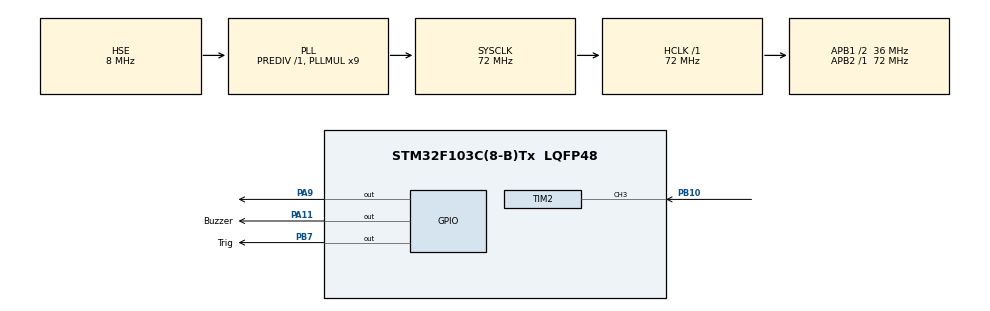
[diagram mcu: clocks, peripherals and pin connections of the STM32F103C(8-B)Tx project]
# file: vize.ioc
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Mcu.Family=STM32F1
Mcu.Name=STM32F103C(8-B)Tx
Mcu.Package=LQFP48
NVIC.PriorityGroup=NVIC_PRIORITYGROUP_4
NVIC.TIM2_IRQn=true\:0\:0\:false\:false\:true\:true\:true\:true
PA11.GPIO_Label=Buzzer
PA11.Signal=GPIO_Output
PA13.Mode=Serial_Wire
PA13.Signal=SYS_JTMS-SWDIO
PA14.Mode=Serial_Wire
PA14.Signal=SYS_JTCK-SWCLK
PA9.Signal=GPIO_Output
PB10.Signal=S_TIM2_CH3
PB7.GPIO_Label=Trig
PB7.Signal=GPIO_Output
PC14-OSC32_IN.Mode=LSE-External-Oscillator
PC14-OSC32_IN.Signal=RCC_OSC32_IN
PC15-OSC32_OUT.Mode=LSE-External-Oscillator
PC15-OSC32_OUT.Signal=RCC_OSC32_OUT
PD0-OSC_IN.Mode=HSE-External-Oscillator
PD0-OSC_IN.Signal=RCC_OSC_IN
PD1-OSC_OUT.Mode=HSE-External-Oscillator
PD1-OSC_OUT.Signal=RCC_OSC_OUT
ProjectManager.HeapSize=0x200
ProjectManager.StackSize=0x400
ProjectManager.TargetToolchain=STM32CubeIDE
RCC.AHBFreq_Value=72000000
RCC.APB1CLKDivider=RCC_HCLK_DIV2
RCC.APB1Freq_Value=36000000
RCC.APB1TimFreq_Value=72000000
RCC.APB2Freq_Value=72000000
RCC.APB2TimFreq_Value=72000000
RCC.HCLKFreq_Value=72000000
RCC.PLLMUL=RCC_PLL_MUL9
RCC.PLLSourceVirtual=RCC_PLLSOURCE_HSE
RCC.SYSCLKFreq_VALUE=72000000
RCC.SYSCLKSource=RCC_SYSCLKSOURCE_PLLCLK
RCC.USBFreq_Value=72000000
SH.S_TIM2_CH3.0=TIM2_CH3,Input_Capture3_from_TI3
TIM2.Channel-Input_Capture3_from_TI3=TIM_CHANNEL_3
TIM2.Period=65535-1
TIM2.Prescaler=72-1
VP_TIM2_VS_ClockSourceINT.Mode=Internal
board=custom

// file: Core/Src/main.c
/* USER CODE BEGIN Header */
/**
  ******************************************************************************
  * @file           : main.c
  * @brief          : Main program body
  ******************************************************************************
  * @attention
  *
  * Copyright (c) 2023 STMicroelectronics.
  * All rights reserved.
  *
  * This software is licensed under terms that can be found in the LICENSE file
  * in the root directory of this software component.
  * If no LICENSE file comes with this software, it is provided AS-IS.
  *
  ******************************************************************************
  */
/* USER CODE END Header */
#include "main.h"

TIM_HandleTypeDef htim2;

void SystemClock_Config(void);
static void MX_GPIO_Init(void);
static void MX_TIM2_Init(void);

/* USER CODE BEGIN 0 */
uint32_t IC_Val1 = 0;
uint32_t IC_Val2 = 0;
uint32_t Difference = 0;
uint8_t Is_First_Captured = 0;
uint8_t Distance = 0;
char mesafe[14];

void delayuS(uint16_t time)
{
    __HAL_TIM_SET_COUNTER(&htim2, 0);
    while (__HAL_TIM_GET_COUNTER(&htim2) < time);
}

void HAL_TIM_IC_CaptureCallback(TIM_HandleTypeDef *htim) {
    if (htim->Channel == HAL_TIM_ACTIVE_CHANNEL_3) {
        if (Is_First_Captured == 0) {
            IC_Val1 = HAL_TIM_ReadCapturedValue(&htim2, TIM_CHANNEL_3);
            Is_First_Captured = 1;
            __HAL_TIM_SET_CAPTUREPOLARITY(&htim2, TIM_CHANNEL_3, TIM_INPUTCHANNELPOLARITY_FALLING);
        } else if (Is_First_Captured == 1) {
            IC_Val2 = HAL_TIM_ReadCapturedValue(&htim2, TIM_CHANNEL_3);
            __HAL_TIM_SET_COUNTER(&htim2, 0);

            if (IC_Val2 > IC_Val1) {
                Difference = IC_Val2 - IC_Val1;
            } else if (IC_Val1 > IC_Val2) {
                Difference = (0xFFFF - IC_Val1) + IC_Val2;
            }

            Difference = Difference * 0.034 / 2;
            Distance = (uint8_t)Difference;
            Is_First_Captured = 0;

            __HAL_TIM_SET_CAPTUREPOLARITY(&htim2, TIM_CHANNEL_3, TIM_INPUTCHANNELPOLARITY_RISING);
            __HAL_TIM_DISABLE_IT(&htim2, TIM_IT_CC3);
        }
    }
}

void HCSR04_Read(void) {
    HAL_GPIO_WritePin(GPIOB, GPIO_PIN_7, 0);
    delayuS(2);

    HAL_GPIO_WritePin(GPIOB, GPIO_PIN_7, 1);
    delayuS(10);

    HAL_GPIO_WritePin(GPIOB, GPIO_PIN_7, 0);

    __HAL_TIM_ENABLE_IT(&htim2, TIM_IT_CC3);
}

/* USER CODE END 0 */

int main(void)
{

  /* MCU Configuration--------------------------------------------------------*/

  /* Reset of all peripherals, Initializes the Flash interface and the Systick. */
  HAL_Init();

  /* Configure the system clock */
  SystemClock_Config();

  /* Initialize all configured peripherals */
  MX_GPIO_Init();
  MX_TIM2_Init();
  /* USER CODE BEGIN 2 */
    HAL_Delay(200);
    HAL_TIM_IC_Start_IT(&htim2, TIM_CHANNEL_3);

  /* USER CODE END 2 */

  /* Infinite loop */
    while (1) {

    /* USER CODE BEGIN 3 */
        HCSR04_Read();
        if (Distance <= 14) {
            HAL_GPIO_WritePin(GPIOA, GPIO_PIN_9, 1);
        } else {
            HAL_GPIO_WritePin(GPIOA, GPIO_PIN_9, 0);
        }
        HAL_Delay(300);
    }
  /* USER CODE END 3 */
}

void SystemClock_Config(void)
{
  RCC_OscInitTypeDef RCC_OscInitStruct = {0};
  RCC_ClkInitTypeDef RCC_ClkInitStruct = {0};

  /** Initializes the RCC Oscillators according to the specified parameters
  * in the RCC_OscInitTypeDef structure.
  */
  RCC_OscInitStruct.OscillatorType = RCC_OSCILLATORTYPE_HSE;
  RCC_OscInitStruct.HSEState = RCC_HSE_ON;
  RCC_OscInitStruct.HSEPredivValue = RCC_HSE_PREDIV_DIV1;
  RCC_OscInitStruct.HSIState = RCC_HSI_ON;
  RCC_OscInitStruct.PLL.PLLState = RCC_PLL_ON;
  RCC_OscInitStruct.PLL.PLLSource = RCC_PLLSOURCE_HSE;
  RCC_OscInitStruct.PLL.PLLMUL = RCC_PLL_MUL9;
  if (HAL_RCC_OscConfig(&RCC_OscInitStruct) != HAL_OK)
  {
    Error_Handler();
  }

  /** Initializes the CPU, AHB and APB buses clocks
  */
  RCC_ClkInitStruct.ClockType = RCC_CLOCKTYPE_HCLK|RCC_CLOCKTYPE_SYSCLK
                              |RCC_CLOCKTYPE_PCLK1|RCC_CLOCKTYPE_PCLK2;
  RCC_ClkInitStruct.SYSCLKSource = RCC_SYSCLKSOURCE_PLLCLK;
  RCC_ClkInitStruct.AHBCLKDivider = RCC_SYSCLK_DIV1;
  RCC_ClkInitStruct.APB1CLKDivider = RCC_HCLK_DIV2;
  RCC_ClkInitStruct.APB2CLKDivider = RCC_HCLK_DIV1;

  if (HAL_RCC_ClockConfig(&RCC_ClkInitStruct, FLASH_LATENCY_2) != HAL_OK)
  {
    Error_Handler();
  }
}

static void MX_TIM2_Init(void)
{

  TIM_ClockConfigTypeDef sClockSourceConfig = {0};
  TIM_MasterConfigTypeDef sMasterConfig = {0};
  TIM_IC_InitTypeDef sConfigIC = {0};

  htim2.Instance = TIM2;
  htim2.Init.Prescaler = 72-1;
  htim2.Init.CounterMode = TIM_COUNTERMODE_UP;
  htim2.Init.Period = 65535-1;
  htim2.Init.ClockDivision = TIM_CLOCKDIVISION_DIV1;
  htim2.Init.AutoReloadPreload = TIM_AUTORELOAD_PRELOAD_DISABLE;
  if (HAL_TIM_Base_Init(&htim2) != HAL_OK)
  {
    Error_Handler();
  }
  sClockSourceConfig.ClockSource = TIM_CLOCKSOURCE_INTERNAL;
  if (HAL_TIM_ConfigClockSource(&htim2, &sClockSourceConfig) != HAL_OK)
  {
    Error_Handler();
  }
  if (HAL_TIM_IC_Init(&htim2) != HAL_OK)
  {
    Error_Handler();
  }
  sMasterConfig.MasterOutputTrigger = TIM_TRGO_RESET;
  sMasterConfig.MasterSlaveMode = TIM_MASTERSLAVEMODE_DISABLE;
  if (HAL_TIMEx_MasterConfigSynchronization(&htim2, &sMasterConfig) != HAL_OK)
  {
    Error_Handler();
  }
  sConfigIC.ICPolarity = TIM_INPUTCHANNELPOLARITY_RISING;
  sConfigIC.ICSelection = TIM_ICSELECTION_DIRECTTI;
  sConfigIC.ICPrescaler = TIM_ICPSC_DIV1;
  sConfigIC.ICFilter = 0;
  if (HAL_TIM_IC_ConfigChannel(&htim2, &sConfigIC, TIM_CHANNEL_3) != HAL_OK)
  {
    Error_Handler();
  }

}

static void MX_GPIO_Init(void)
{
  GPIO_InitTypeDef GPIO_InitStruct = {0};

  /* GPIO Ports Clock Enable */
  __HAL_RCC_GPIOC_CLK_ENABLE();
  __HAL_RCC_GPIOD_CLK_ENABLE();
  __HAL_RCC_GPIOB_CLK_ENABLE();
  __HAL_RCC_GPIOA_CLK_ENABLE();

  /*Configure GPIO pin Output Level */
  HAL_GPIO_WritePin(GPIOA, GPIO_PIN_9|Buzzer_Pin, GPIO_PIN_RESET);

  /*Configure GPIO pin Output Level */
  HAL_GPIO_WritePin(Trig_GPIO_Port, Trig_Pin, GPIO_PIN_RESET);

  /*Configure GPIO pins : PA9 Buzzer_Pin */
  GPIO_InitStruct.Pin = GPIO_PIN_9|Buzzer_Pin;
  GPIO_InitStruct.Mode = GPIO_MODE_OUTPUT_PP;
  GPIO_InitStruct.Pull = GPIO_NOPULL;
  GPIO_InitStruct.Speed = GPIO_SPEED_FREQ_LOW;
  HAL_GPIO_Init(GPIOA, &GPIO_InitStruct);

  /*Configure GPIO pin : Trig_Pin */
  GPIO_InitStruct.Pin = Trig_Pin;
  GPIO_InitStruct.Mode = GPIO_MODE_OUTPUT_PP;
  GPIO_InitStruct.Pull = GPIO_NOPULL;
  GPIO_InitStruct.Speed = GPIO_SPEED_FREQ_LOW;
  HAL_GPIO_Init(Trig_GPIO_Port, &GPIO_InitStruct);

}

void Error_Handler(void)
{
    __disable_irq();
    while (1) {
    }
}
